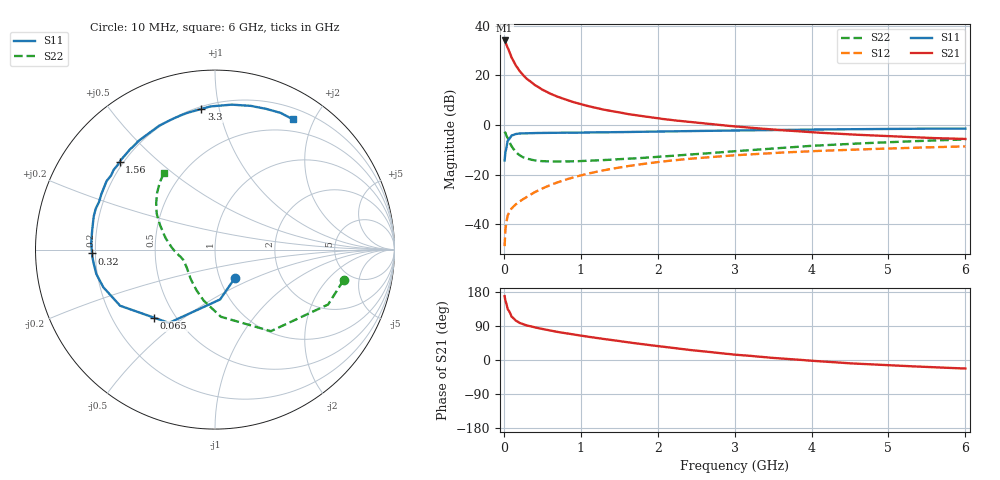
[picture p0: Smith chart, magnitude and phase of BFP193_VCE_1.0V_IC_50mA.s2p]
! Infineon Technologies  Discrete & RF Semiconductors
! BFP193
! VCE = 1.0 V,  IC =  50 mA
! Common Emitter S-Parameters:  Jan 2016
# GHz  S  MA  R  50
!  f  S11  S21  S12  S22
! GHz  MAG  ANG  MAG  ANG  MAG  ANG  MAG  ANG
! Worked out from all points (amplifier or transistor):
!   210 points, 10 MHz to 6 GHz, reference 50 ohm
!   highest |S21| = 34.1 dB at 10 MHz (marker M1)
!   |S21| within 3 dB of that: start of sweep to 51.16 MHz
!   unconditionally stable (mu >= 1): start of sweep to 12.4 MHz; 296 MHz to end of sweep
!   at 185 MHz: K = 0.82, MSG = 27.0 dB, |S12| = -31.3 dB
!   at 1.52 GHz: K = 1.16, MAG = 8.6 dB, |S12| = -17.0 dB
!   at 6 GHz: K = 1.03, MAG = 0.4 dB, |S12| = -8.6 dB
!   S11 on the Smith chart (normalised r, x): 10 MHz: 1.18, -0.39; 65 MHz: 0.38, -0.39; 320 MHz: 0.19, -0.02; 1.56 GHz: 0.19, +0.38; 3.3 GHz: 0.21, +0.89; 6 GHz: 0.34, +1.71
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0.01  0.1931 -54.8  50.85 168.6  0.0036 75.5  0.736 -13.4
0.02  0.2794 -84.2  47.52 157.3  0.0077 68.7  0.7004 -25.9
0.05  0.4823 -122.1  36.34 134.3  0.015 56.4  0.5508 -55.6
0.065  0.5084 -131.7  32.04 130.1  0.0167 54.4  0.4869 -62.1
0.1  0.6143 -149.4  23.11 114.4  0.0207 50.9  0.3755 -85.0
0.15  0.6568 -161.4  16.38 104.5  0.0247 50.1  0.2911 -102.5
0.2  0.675 -168.4  12.61 98.3  0.0282 52.6  0.249 -114.4
0.24  0.6789 -172.3  10.61 95.1  0.0312 54.7  0.2281 -121.8
0.3  0.6849 -177.0  8.503 91.0  0.0356 57.7  0.2104 -130.6
0.32  0.6855 -178.2  8.09 90.2  0.0373 58.4  0.2066 -132.4
0.4  0.6909 176.8  6.458 86.1  0.044 60.6  0.1939 -140.5
0.5  0.6919 172.7  5.175 81.8  0.0523 62.2  0.1866 -147.3
0.6  0.6953 168.3  4.317 77.7  0.0612 63.0  0.1846 -152.2
0.8  0.7026 161.1  3.264 70.7  0.0785 62.9  0.1845 -158.5
1.02  0.7051 153.4  2.586 63.8  0.0981 61.8  0.1879 -163.4
1.56  0.7215 137.5  1.728 48.3  0.144 55.6  0.207 -172.2
2.02  0.7407 124.6  1.355 36.3  0.1802 49.5  0.2298 -179.5
3.1  0.78 99.4  0.912 12.6  0.2506 34.4  0.3032 162.0
3.3  0.7873 95.5  0.859 9.2  0.2615 31.8  0.3192 158.7
4.1  0.8144 81.9  0.701 -3.3  0.3009 21.6  0.3877 147.0
5.1  0.836 68.8  0.587 -14.8  0.3394 10.1  0.4571 134.4
6  0.8456 59.1  0.524 -22.5  0.371 0.2  0.5121 123.9
